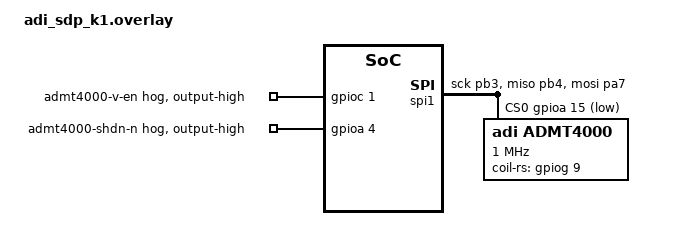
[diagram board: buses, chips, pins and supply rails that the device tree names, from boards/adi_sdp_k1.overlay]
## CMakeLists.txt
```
# Copyright (c) 2026 Analog Devices, Inc.
#
# SPDX-License-Identifier: Apache-2.0

cmake_minimum_required(VERSION 3.20.0)
find_package(Zephyr REQUIRED HINTS $ENV{ZEPHYR_BASE})
project(admt4000)

file(GLOB app_sources src/*.c)
target_sources(app PRIVATE ${app_sources})
```

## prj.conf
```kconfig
# Copyright (c) 2026 Analog Devices, Inc.
#
# SPDX-License-Identifier: Apache-2.0

CONFIG_STDOUT_CONSOLE=y
CONFIG_SPI=y
CONFIG_SENSOR=y
CONFIG_ADMT4000=y
CONFIG_CBPRINTF_FP_SUPPORT=y
CONFIG_SENSOR_ASYNC_API=y
```

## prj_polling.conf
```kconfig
# Copyright (c) 2026 Analog Devices, Inc.
#
# SPDX-License-Identifier: Apache-2.0

# Polling (synchronous) variant of the ADMT4000 sample. This intentionally
# leaves CONFIG_SENSOR_ASYNC_API disabled so the sensor_sample_fetch() /
# sensor_channel_get() code path is build-verified in CI.

CONFIG_STDOUT_CONSOLE=y
CONFIG_SPI=y
CONFIG_SENSOR=y
CONFIG_ADMT4000=y
CONFIG_CBPRINTF_FP_SUPPORT=y
```

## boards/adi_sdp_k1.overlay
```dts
/*
 * Copyright (c) 2026 Analog Devices, Inc.
 *
 * SPDX-License-Identifier: Apache-2.0
 */

#include <zephyr/dt-bindings/gpio/gpio.h>

&spi1 {
	pinctrl-0 = <&spi1_sck_pb3 &spi1_miso_pb4 &spi1_mosi_pa7>;
	pinctrl-names = "default";
	/* Arduino D10 (SPI CS) -> gpioa 15 on SDP-K1. */
	cs-gpios = <&gpioa 15 GPIO_ACTIVE_LOW>;
	status = "okay";

	admt4000: admt4000@0 {
		compatible = "adi,admt4000";
		reg = <0>;
		spi-max-frequency = <1000000>;
		adi,vdd-variant = <0>;
		/* Arduino D4 (COIL_RS on EVAL-ADMT4000ARD1Z) drives the GMR coil reset. */
		coil-rs-gpios = <&gpiog 9 GPIO_ACTIVE_HIGH>;
	};
};

/*
 * EVAL-ADMT4000ARD1Z coil-driver power rails. These are evaluation-board
 * controls (not part of the ADMT4000 device), so they are enabled here at the
 * board level via GPIO hogs:
 *   V_EN high, SHDN_N released (high), so the coil driver is powered.
 * A3 (V_EN) -> gpioc 1, A1 (SHDN_N) -> gpioa 4 on adi_sdp_k1.
 */
&gpioc {
	admt4000_v_en {
		gpio-hog;
		gpios = <1 GPIO_ACTIVE_HIGH>;
		output-high;
		line-name = "admt4000-v-en";
	};
};

&gpioa {
	admt4000_shdn_n {
		gpio-hog;
		gpios = <4 GPIO_ACTIVE_HIGH>;
		output-high;
		line-name = "admt4000-shdn-n";
	};
};
```

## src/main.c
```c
/*
 * Copyright (c) 2026 Analog Devices, Inc.
 *
 * SPDX-License-Identifier: Apache-2.0
 */

#include <zephyr/kernel.h>
#include <zephyr/device.h>
#include <zephyr/drivers/sensor.h>
#include <zephyr/drivers/sensor/admt4000.h>
#include <stdio.h>
#include <errno.h>

#ifdef CONFIG_SENSOR_ASYNC_API
#include <zephyr/drivers/sensor_data_types.h>
#include <zephyr/rtio/rtio.h>
#include <zephyr/dsp/print_format.h>
#endif

#define SAMPLE_INTERVAL K_SECONDS(1)

#ifdef CONFIG_SENSOR_ASYNC_API
SENSOR_DT_READ_IODEV(iodev, DT_COMPAT_GET_ANY_STATUS_OKAY(adi_admt4000),
		     {SENSOR_CHAN_ADMT4000_ANGLE, 0}, {SENSOR_CHAN_ROTATION, 0},
		     {SENSOR_CHAN_AMBIENT_TEMP, 0}, {SENSOR_CHAN_ADMT4000_COS, 0},
		     {SENSOR_CHAN_ADMT4000_SIN, 0}, {SENSOR_CHAN_ADMT4000_RADIUS, 0});

RTIO_DEFINE(ctx, 1, 1);
#endif /* CONFIG_SENSOR_ASYNC_API */

#ifdef CONFIG_SENSOR_ASYNC_API
static int sample_read_rtio(const struct device *dev)
{
	uint8_t buf[128];
	int rc;

	rc = sensor_read(&iodev, &ctx, buf, sizeof(buf));
	if (rc != 0) {
		printf("sensor_read() failed: %d\n", rc);
		return rc;
	}

	const struct sensor_decoder_api *decoder;

	rc = sensor_get_decoder(dev, &decoder);
	if (rc != 0) {
		printf("sensor_get_decoder() failed: %d\n", rc);
		return rc;
	}

	/* Decode angle */
	uint32_t angle_fit = 0;
	struct sensor_q31_data angle_data = {0};

	rc = decoder->decode(buf, (struct sensor_chan_spec){SENSOR_CHAN_ADMT4000_ANGLE, 0},
			     &angle_fit, 1, &angle_data);
	if (rc > 0) {
		printf("Angle: %s%d.%d deg",
		       PRIq_arg(angle_data.readings[0].angle, 6, angle_data.shift));
	}

	/* Decode turns */
	uint32_t turns_fit = 0;
	struct sensor_q31_data turns_data = {0};

	rc = decoder->decode(buf, (struct sensor_chan_spec){SENSOR_CHAN_ROTATION, 0}, &turns_fit, 1,
			     &turns_data);
	if (rc > 0) {
		printf("  Turns: %s%d.%d",
		       PRIq_arg(turns_data.readings[0].value, 2, turns_data.shift));
	}

	/* Decode temperature */
	uint32_t temp_fit = 0;
	struct sensor_q31_data temp_data = {0};

	rc = decoder->decode(buf, (struct sensor_chan_spec){SENSOR_CHAN_AMBIENT_TEMP, 0}, &temp_fit,
			     1, &temp_data);
	if (rc > 0) {
		printf("  Temp: %s%d.%d C",
		       PRIq_arg(temp_data.readings[0].temperature, 6, temp_data.shift));
	}

	/* Decode cosine */
	uint32_t cos_fit = 0;
	struct sensor_q31_data cos_data = {0};

	rc = decoder->decode(buf, (struct sensor_chan_spec){SENSOR_CHAN_ADMT4000_COS, 0}, &cos_fit,
			     1, &cos_data);
	if (rc > 0) {
		printf("  Cos: %s%d.%d", PRIq_arg(cos_data.readings[0].value, 6, cos_data.shift));
	}

	/* Decode sine */
	uint32_t sin_fit = 0;
	struct sensor_q31_data sin_data = {0};

	rc = decoder->decode(buf, (struct sensor_chan_spec){SENSOR_CHAN_ADMT4000_SIN, 0}, &sin_fit,
			     1, &sin_data);
	if (rc > 0) {
		printf("  Sin: %s%d.%d", PRIq_arg(sin_data.readings[0].value, 6, sin_data.shift));
	}

	/* Decode radius (AMR signal amplitude, mV/V) */
	uint32_t radius_fit = 0;
	struct sensor_q31_data radius_data = {0};

	rc = decoder->decode(buf, (struct sensor_chan_spec){SENSOR_CHAN_ADMT4000_RADIUS, 0},
			     &radius_fit, 1, &radius_data);
	if (rc > 0) {
		printf("  Radius: %s%d.%d mV/V",
		       PRIq_arg(radius_data.readings[0].value, 6, radius_data.shift));
	}

	printf("\n");
	return 0;
}
#endif /* CONFIG_SENSOR_ASYNC_API */

#ifndef CONFIG_SENSOR_ASYNC_API
static int sample_read_polling(const struct device *dev)
{
	struct sensor_value val;
	int ret;

	ret = sensor_sample_fetch(dev);
	if (ret) {
		printf("sensor_sample_fetch failed: %d\n", ret);
		return ret;
	}

	/* Angle */
	ret = sensor_channel_get(dev, (enum sensor_channel)SENSOR_CHAN_ADMT4000_ANGLE, &val);
	if (ret == 0) {
		printf("Angle: %.6f deg", sensor_value_to_double(&val));
	}

	/* Turn count */
	ret = sensor_channel_get(dev, SENSOR_CHAN_ROTATION, &val);
	if (ret == 0) {
		printf("  Turns: %.2f", sensor_value_to_double(&val));
	}

	/* Temperature */
	ret = sensor_channel_get(dev, SENSOR_CHAN_AMBIENT_TEMP, &val);
	if (ret == 0) {
		printf("  Temp: %.6f C", sensor_value_to_double(&val));
	}

	/* Cosine */
	ret = sensor_channel_get(dev, (enum sensor_channel)SENSOR_CHAN_ADMT4000_COS, &val);
	if (ret == 0) {
		printf("  Cos: %.6f", sensor_value_to_double(&val));
	}

	/* Sine */
	ret = sensor_channel_get(dev, (enum sensor_channel)SENSOR_CHAN_ADMT4000_SIN, &val);
	if (ret == 0) {
		printf("  Sin: %.6f", sensor_value_to_double(&val));
	}

	/* Radius (AMR signal amplitude, mV/V) */
	ret = sensor_channel_get(dev, (enum sensor_channel)SENSOR_CHAN_ADMT4000_RADIUS, &val);
	if (ret == 0) {
		printf("  Radius: %.6f mV/V", sensor_value_to_double(&val));
	}

	printf("\n");
	return 0;
}
#endif /* !CONFIG_SENSOR_ASYNC_API */

int main(void)
{
	const struct device *const dev = DEVICE_DT_GET_ONE(adi_admt4000);
	struct sensor_value val;
	int ret;

	if (!device_is_ready(dev)) {
		printf("Device %s is not ready\n", dev->name);
		return 0;
	}

	printf("ADMT4000 sample application\n");
	printf("Device: %s\n", dev->name);

#ifdef CONFIG_SENSOR_ASYNC_API
	printf("Mode: RTIO (async)\n\n");
#else
	printf("Mode: Polling (sync)\n\n");
#endif

	/* Read and display the current conversion mode */
	ret = sensor_attr_get(dev, (enum sensor_channel)SENSOR_CHAN_ADMT4000_ANGLE,
			      (enum sensor_attribute)SENSOR_ATTR_ADMT4000_CONV_MODE, &val);
	if (ret == 0) {
		printf("Conversion mode: %s\n", val.val1 == 0 ? "continuous" : "one-shot");
	}

	/* Read and display filter status */
	ret = sensor_attr_get(dev, (enum sensor_channel)SENSOR_CHAN_ADMT4000_ANGLE,
			      (enum sensor_attribute)SENSOR_ATTR_ADMT4000_FILTER_ENABLE, &val);
	if (ret == 0) {
		printf("Angle filter: %s\n", val.val1 ? "enabled" : "disabled");
	}

	/* Pulse the GMR coil to perform a magnetic reset (requires coil-rs-gpios). */
	ret = sensor_attr_set(dev, (enum sensor_channel)SENSOR_CHAN_ADMT4000_ANGLE,
			      (enum sensor_attribute)SENSOR_ATTR_ADMT4000_COIL_RESET, &val);
	if (ret == 0) {
		printf("Magnetic (coil) reset: done\n");
	} else if (ret == -ENODEV) {
		printf("Magnetic (coil) reset: skipped (no coil-rs-gpios)\n");
	} else {
		printf("Magnetic (coil) reset: failed (%d)\n", ret);
	}

	printf("\n");

	while (1) {
#ifdef CONFIG_SENSOR_ASYNC_API
		sample_read_rtio(dev);
#else
		sample_read_polling(dev);
#endif
		k_sleep(SAMPLE_INTERVAL);
	}

	return 0;
}
```
